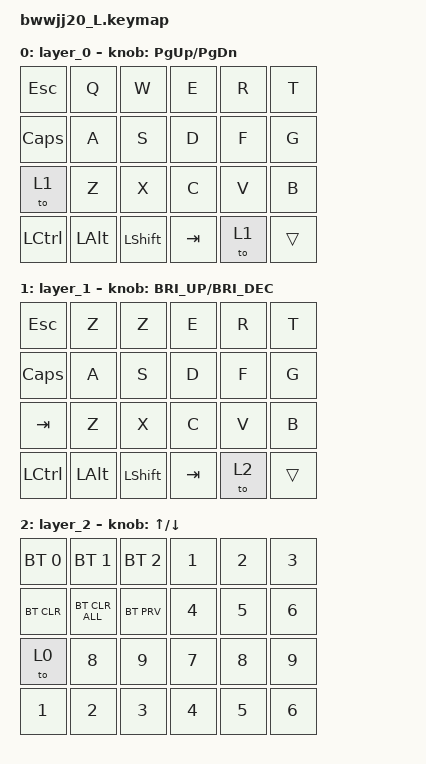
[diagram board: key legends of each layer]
#include <behaviors.dtsi>
#include <dt-bindings/zmk/bt.h>
#include <dt-bindings/zmk/keys.h>
#include <dt-bindings/zmk/pointing.h>

/ {
    behaviors {
        // L编码器的行为

        rot_kp_1: sensor_rotate_kp_1 {
            compatible = "zmk,behavior-sensor-rotate-var";
            #sensor-binding-cells = <2>;
            bindings = <&kp>, <&kp>;
        };
    };

    keymap {
        compatible = "zmk,keymap";

        layer_0 {
            bindings = <
                    &kp ESC    &kp Q     &kp W      &kp E    &kp R     &kp T
                    &kp CAPS   &kp A     &kp S      &kp D    &kp F     &kp G
                    &to 1      &kp Z     &kp X      &kp C    &kp V     &kp B
                    &kp LCTRL  &kp LALT  &kp LSHFT  &kp TAB  &to 1     &trans
            >;

            // 第一个编码器的绑定

            sensor-bindings =
                <&rot_kp_1 PG_UP PG_DN>;
                // 编码器1：旋转触发 PG_UP 和 PG_DN,,

        };

        layer_1 {
            bindings = <
                    &kp ESC    &kp Z     &kp Z      &kp E    &kp R     &kp T
                    &kp CAPS   &kp A     &kp S      &kp D    &kp F     &kp G
                    &kp TAB    &kp Z     &kp X      &kp C    &kp V     &kp B
                    &kp LCTRL  &kp LALT  &kp LSHFT  &kp TAB  &to 2  &trans
            >;

            sensor-bindings =
                <&inc_dec_kp C_BRI_UP C_BRI_DEC>;
        };

        layer_2 {
            bindings = <
                    &bt BT_SEL 0    &bt BT_SEL 1    &bt BT_SEL 2    &kp N1         &kp N2         &kp N3
                    &bt BT_CLR      &bt BT_CLR_ALL  &bt BT_PRV      &kp N4         &kp N5         &kp N6
                    &to 0           &kp N8          &kp N9          &kp N7         &kp N8         &kp N9
                    &kp N1          &kp N2          &kp N3          &kp N4         &kp N5         &kp N6
            >;

            sensor-bindings =
                <&inc_dec_kp UP DOWN>;
        };
    };
};
